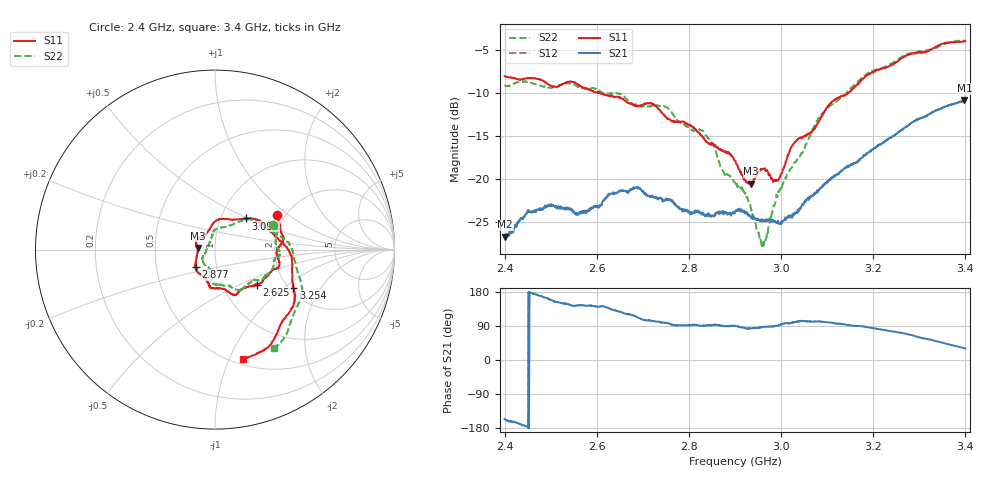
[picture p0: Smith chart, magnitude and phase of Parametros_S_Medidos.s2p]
!Keysight Technologies N9918A: A.08.01
!Date: Friday, 25 April 2025 16:58:00
!Timezone: (GMT-03:00) Buenos Aires
!Model: N9918A
!Serial: MY53105265
!GPS Latitude:
!GPS Longitude:
!GPS TimeStamp: 0001-01-01 00:00:00Z
!GPS Seconds Since Last Read: 0
!CHECKSUM:0469718480
!Correction: S11(ON U)S21(ON U)S12(ON U)S22(ON U)
!S2P File: Measurements:S11,S21,S12,S22:
# Hz S DB R 50
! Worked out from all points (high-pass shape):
!   1001 points, 2.4 GHz to 3.4 GHz, reference 50 ohm
!   highest |S21| = -10.84 dB at 3.398 GHz (marker M1); lowest = -26.7 dB at 2.401 GHz (marker M2)
!   |S21| within 3 dB of the highest: 3.273 GHz to end of sweep
!   lowest |S11| = -20.5 dB at 2.935 GHz (marker M3), VSWR 1.21, Z = 41.4 + j0.76 ohm
!   |S11| at or under -10 dB: 2.603978 GHz to 2.604032 GHz (54 kHz wide, 0.00207 % of centre); 2.608 GHz to 3.146 GHz (537.9 MHz wide, 18.7 % of centre)
!   |S22| runs from -27.7 to -3.9 dB; largest |S21 - S12| = 0.0032
!   S11 on the Smith chart (normalised r, x): 2.4 GHz: 1.82, +0.83; 2.625 GHz: 1.45, -0.63; 2.877 GHz: 0.79, -0.15; 3.093 GHz: 1.32, +0.49; 3.254 GHz: 2.11, -1.17; 3.4 GHz: 0.55, -1.13
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2.4e9  -8.04 29.1  -26.49 -156.1  -26.61 -156.7  -9.17 22.9
2.401e9  -8.06 28.7  -26.65 -157.1  -26.44 -156.7  -9.13 22.6
2.497e9  -9.03 1.5  -23.05 160.1  -23.06 160.5  -9.36 6.6
2.567e9  -9.29 -18.4  -23.82 144.7  -23.89 144.1  -9.35 -8.2
2.625e9  -10.33 -39.9  -21.84 137.3  -21.84 137.5  -10.05 -28.5
2.688e9  -11.45 -57.0  -20.88 112.8  -21.05 112.7  -11.40 -42.2
2.734e9  -11.81 -70.6  -22.33 101.5  -22.18 101.3  -11.46 -55.6
2.831e9  -15.20 -107.7  -24.13 90.9  -23.95 89.2  -14.44 -92.7
2.877e9  -16.82 -138.5  -23.89 89.1  -23.77 89.8  -19.35 -107.9
2.9e9  -17.82 -147.4  -23.75 90.0  -23.71 90.0  -20.39 -133.2
2.935e9  -20.51 174.5  -24.32 83.3  -24.52 84.3  -23.40 -156.8
2.963e9  -18.76 152.8  -24.76 87.5  -24.72 87.0  -27.59 147.6
2.993e9  -20.15 120.3  -24.80 90.2  -24.97 90.5  -21.58 100.0
3.026e9  -15.94 88.8  -24.15 100.1  -24.24 99.4  -18.38 82.0
3.067e9  -14.43 62.0  -21.92 101.3  -21.90 101.5  -14.35 51.7
3.093e9  -12.21 45.1  -20.57 100.7  -20.63 100.3  -12.19 43.0
3.187e9  -7.93 1.2  -16.97 86.5  -16.95 87.0  -7.76 6.1
3.234e9  -6.87 -17.9  -15.26 76.9  -15.31 76.8  -6.72 -11.5
3.254e9  -6.27 -25.9  -14.55 72.5  -14.62 73.1  -6.07 -18.2
3.295e9  -5.33 -39.2  -13.05 61.4  -13.12 61.5  -5.25 -29.4
3.398e9  -4.00 -74.8  -10.84 30.9  -10.88 30.9  -3.90 -58.6
3.4e9  -3.99 -75.6  -10.85 30.3  -10.86 30.4  -3.90 -59.2
